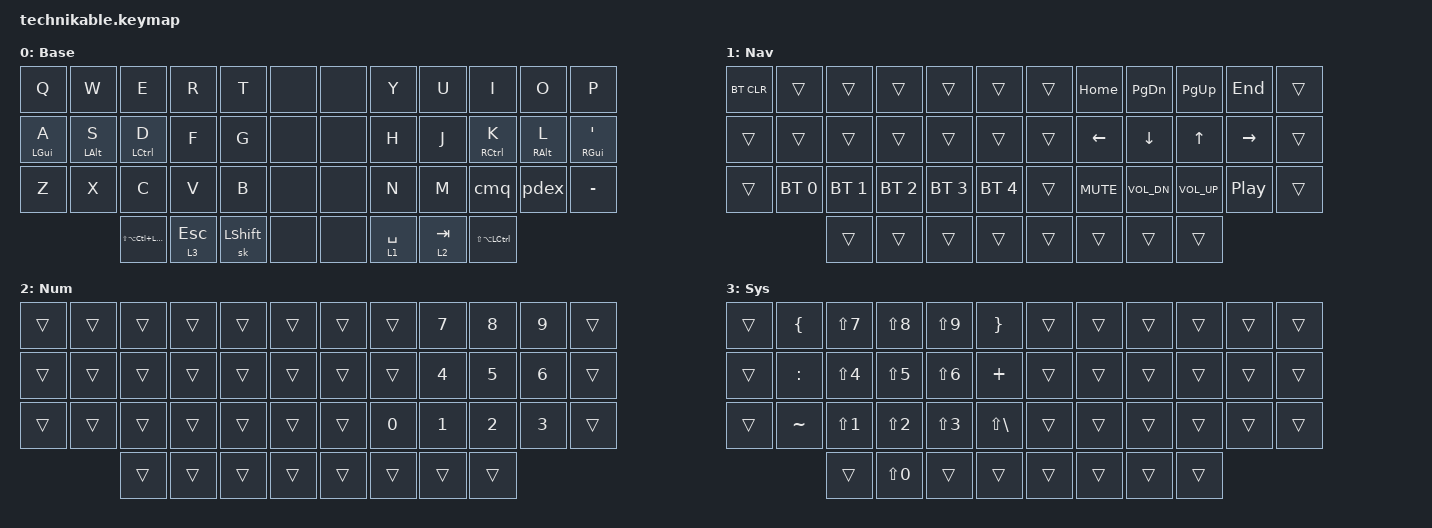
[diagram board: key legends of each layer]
/*
 * Copyright (c) 2022 Pete Johanson
 *
 * SPDX-License-Identifier: MIT
 */

#include <behaviors.dtsi>
#include <dt-bindings/zmk/bt.h>
#include <dt-bindings/zmk/keys.h>

#define BAS_L 0
#define NAV_L 1
#define NUM_L 2
#define SYM_L 3

// Using layer taps on thumbs, having quick tap as well helps w/ repeating space/backspace

&sk { quick-release; };

/ {
    chosen { zmk,matrix_transform = &ortho_transform; };

    conditional_layers { compatible = "zmk,conditional-layers"; };

    combos {
        compatible = "zmk,combos";

        bsp {
            bindings = <&kp BACKSPACE>;
            key-positions = <21 20>;
        };

        bspii {
            bindings = <&kp BACKSPACE>;
            key-positions = <14 15>;
        };

        dword {
            bindings = <&kp LA(BACKSPACE)>;
            key-positions = <20 22>;
        };

        dwordii {
            bindings = <&kp LA(BACKSPACE)>;
            key-positions = <13 15>;
        };

        dline {
            bindings = <&kp LG(BACKSPACE)>;
            key-positions = <20 23>;
        };

        dlineii {
            bindings = <&kp LG(BACKSPACE)>;
            key-positions = <12 15>;
        };

        ret {
            bindings = <&kp RET>;
            key-positions = <41 23>;
        };

        retii {
            bindings = <&kp RET>;
            key-positions = <12 38>;
        };

        BOOTLOADER {
            bindings = <&bootloader>;
            key-positions = <0 11>;
        };

        copy {
            bindings = <&kp LG(C)>;
            key-positions = <25 26>;
        };

        paste {
            bindings = <&kp LG(V)>;
            key-positions = <26 27>;
        };

        cut {
            bindings = <&kp LG(X)>;
            key-positions = <25 27>;
        };

        undo {
            bindings = <&kp LG(Z)>;
            key-positions = <24 25>;
        };

        redo {
            bindings = <&kp LG(LS(Z))>;
            key-positions = <27 28>;
        };

        oprn {
            bindings = <&oprn>;
            key-positions = <8 9>;
        };

        cprn {
            bindings = <&cprn>;
            key-positions = <9 10>;
        };

        col {
            bindings = <&kp SEMICOLON>;
            key-positions = <21 22>;
        };

        obkt {
            bindings = <&kp LEFT_BRACKET>;
            key-positions = <32 33>;
        };

        cbkt {
            bindings = <&kp RIGHT_BRACKET>;
            key-positions = <33 34>;
        };

        pct {
            bindings = <&kp LS(N5)>;
            key-positions = <21 33>;
        };

        crt {
            bindings = <&kp LS(N6)>;
            key-positions = <15 16>;
        };

        ats {
            bindings = <&kp LS(N2)>;
            key-positions = <15 3>;
        };

        hsh {
            bindings = <&kp LS(N3)>;
            key-positions = <20 32>;
        };

        eqs {
            bindings = <&kp EQUAL>;
            key-positions = <20 8>;
        };

        slsh {
            bindings = <&slsh>;
            key-positions = <22 23>;
        };

        ampr {
            bindings = <&kp LS(N7)>;
            key-positions = <21 9>;
        };

        pipe {
            bindings = <&kp LS(BACKSLASH)>;
            key-positions = <22 10>;
        };

        astk {
            bindings = <&kp LS(N8)>;
            key-positions = <11 10>;
        };

        dlrs {
            bindings = <&kp LS(NUMBER_4)>;
            key-positions = <20 19>;
        };

        plus {
            bindings = <&kp LS(EQUAL)>;
            key-positions = <35 34>;
        };

        grave {
            bindings = <&kp GRAVE>;
            key-positions = <0 1>;
        };
    };

    behaviors {
        ht: hold_tap {
            compatible = "zmk,behavior-hold-tap";
            label = "hold_tap";
            bindings = <&kp>, <&kp>;

            #binding-cells = <2>;
            tapping-term-ms = <220>;
            quick-tap-ms = <150>;
            require-prior-idle-ms = <100>;
            flavor = "tap-preferred";
        };

        cmq: cmq {
            compatible = "zmk,behavior-mod-morph";
            label = "CMQ";
            bindings = <&kp COMMA>, <&kp LS(SLASH)>;

            #binding-cells = <0>;
            mods = <(MOD_LSFT|MOD_RSFT)>;
        };

        pdex: pdex {
            compatible = "zmk,behavior-mod-morph";
            label = "PDEX";
            bindings = <&kp PERIOD>, <&kp LS(NUMBER_1)>;

            #binding-cells = <0>;
            mods = <(MOD_LSFT|MOD_RSFT)>;
        };

        oprn: oprn {
            compatible = "zmk,behavior-mod-morph";
            label = "OPRN";
            bindings = <&kp LS(N9)>, <&kp LS(COMMA)>;

            #binding-cells = <0>;
            mods = <(MOD_LSFT|MOD_RSFT)>;
        };

        cprn: cprn {
            compatible = "zmk,behavior-mod-morph";
            label = "CPRN";
            bindings = <&kp LS(N0)>, <&kp LS(PERIOD)>;

            #binding-cells = <0>;
            mods = <(MOD_LSFT|MOD_RSFT)>;
        };

        slsh: slsh {
            compatible = "zmk,behavior-mod-morph";
            label = "SLSH";
            bindings = <&kp SLASH>, <&kp BSLH>;

            #binding-cells = <0>;
            mods = <(MOD_LSFT|MOD_RSFT)>;
        };
    };

    keymap {
        compatible = "zmk,keymap";

        base_layer {
            label = "Base";
            bindings = <
&kp Q       &kp W       &kp E                 &kp R         &kp T           &none         &none        &kp Y      &kp U              &kp I        &kp O       &kp P
&ht LGUI A  &ht LALT S  &ht LCTRL D           &kp F         &kp G           &none         &none        &kp H      &kp J              &ht RCTRL K  &ht RALT L  &ht RGUI SQT
&kp Z       &kp X       &kp C                 &kp V         &kp B           &none         &none        &kp N      &kp M              &cmq         &pdex       &kp MINUS
                        &kp LS(LA(LC(LGUI)))  &lt 3 ESCAPE  &sk LEFT_SHIFT  &none  &none  &lt 1 SPACE  &lt 2 TAB  &kp LS(LA(LCTRL))
            >;
        };

        nav_layer {
            label = "Nav";
            bindings = <
&bt BT_CLR  &trans        &trans        &trans        &trans        &trans                &trans  &kp HOME    &kp PG_DN     &kp PG_UP     &kp END           &trans
&trans      &trans        &trans        &trans        &trans        &trans                &trans  &kp LEFT    &kp DOWN      &kp UP        &kp RIGHT         &trans
&trans      &bt BT_SEL 0  &bt BT_SEL 1  &bt BT_SEL 2  &bt BT_SEL 3  &bt BT_SEL 4          &trans  &kp C_MUTE  &kp C_VOL_DN  &kp C_VOL_UP  &kp C_PLAY_PAUSE  &trans
                          &trans        &trans        &trans        &trans        &trans  &trans  &trans      &trans
            >;
        };

        num_layer {
            label = "Num";
            bindings = <
&trans  &trans  &trans  &trans  &trans  &trans          &trans  &trans  &kp N7  &kp N8  &kp N9  &trans
&trans  &trans  &trans  &trans  &trans  &trans          &trans  &trans  &kp N4  &kp N5  &kp N6  &trans
&trans  &trans  &trans  &trans  &trans  &trans          &trans  &kp N0  &kp N1  &kp N2  &kp N3  &trans
                &trans  &trans  &trans  &trans  &trans  &trans  &trans  &trans
            >;
        };

        sys_layer {
            label = "Sys";
            bindings = <
&trans  &kp LBRC   &kp LS(N7)  &kp LS(N8)  &kp LS(N9)  &kp RBRC              &trans  &trans  &trans  &trans  &trans  &trans
&trans  &kp COLON  &kp LS(N4)  &kp LS(N5)  &kp LS(N6)  &kp PLUS              &trans  &trans  &trans  &trans  &trans  &trans
&trans  &kp TILDE  &kp LS(N1)  &kp LS(N2)  &kp LS(N3)  &kp LS(BSLH)          &trans  &trans  &trans  &trans  &trans  &trans
                   &trans      &kp LS(N0)  &trans      &trans        &trans  &trans  &trans  &trans
            >;
        };
    };
};
